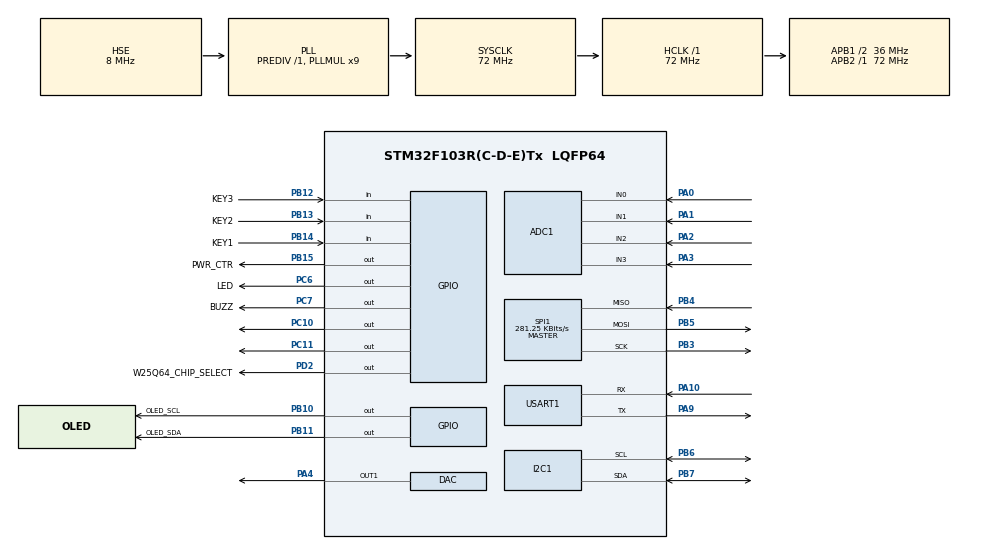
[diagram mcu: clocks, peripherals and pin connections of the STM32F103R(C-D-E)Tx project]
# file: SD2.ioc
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ADC1.Channel-10\#ChannelRegularConversion=ADC_CHANNEL_2
ADC1.Channel-11\#ChannelRegularConversion=ADC_CHANNEL_3
ADC1.Channel-6\#ChannelRegularConversion=ADC_CHANNEL_0
ADC1.Channel-9\#ChannelRegularConversion=ADC_CHANNEL_1
ADC1.ContinuousConvMode=ENABLE
ADC1.DiscontinuousConvMode=DISABLE
ADC1.ExternalTrigConv=ADC_SOFTWARE_START
ADC1.NbrOfConversion=4
ADC1.NbrOfConversionFlag=1
ADC1.Rank-10\#ChannelRegularConversion=3
ADC1.Rank-11\#ChannelRegularConversion=4
ADC1.Rank-6\#ChannelRegularConversion=1
ADC1.Rank-9\#ChannelRegularConversion=2
ADC1.SamplingTime-10\#ChannelRegularConversion=ADC_SAMPLETIME_71CYCLES_5
ADC1.SamplingTime-11\#ChannelRegularConversion=ADC_SAMPLETIME_71CYCLES_5
ADC1.SamplingTime-6\#ChannelRegularConversion=ADC_SAMPLETIME_71CYCLES_5
ADC1.SamplingTime-9\#ChannelRegularConversion=ADC_SAMPLETIME_71CYCLES_5
ADC1.master=1
Dma.ADC1.2.Direction=DMA_PERIPH_TO_MEMORY
Dma.ADC1.2.Instance=DMA1_Channel1
Dma.ADC1.2.MemDataAlignment=DMA_MDATAALIGN_HALFWORD
Dma.ADC1.2.MemInc=DMA_MINC_ENABLE
Dma.ADC1.2.Mode=DMA_CIRCULAR
Dma.ADC1.2.PeriphDataAlignment=DMA_PDATAALIGN_HALFWORD
Dma.ADC1.2.PeriphInc=DMA_PINC_DISABLE
Dma.ADC1.2.Priority=DMA_PRIORITY_HIGH
Dma.Request0=USART1_RX
Dma.Request1=USART1_TX
Dma.Request2=ADC1
Dma.USART1_RX.0.Direction=DMA_PERIPH_TO_MEMORY
Dma.USART1_RX.0.Instance=DMA1_Channel5
Dma.USART1_RX.0.MemDataAlignment=DMA_MDATAALIGN_BYTE
Dma.USART1_RX.0.MemInc=DMA_MINC_ENABLE
Dma.USART1_RX.0.Mode=DMA_NORMAL
Dma.USART1_RX.0.PeriphDataAlignment=DMA_PDATAALIGN_BYTE
Dma.USART1_RX.0.PeriphInc=DMA_PINC_DISABLE
Dma.USART1_RX.0.Priority=DMA_PRIORITY_LOW
Dma.USART1_TX.1.Direction=DMA_MEMORY_TO_PERIPH
Dma.USART1_TX.1.Instance=DMA1_Channel4
Dma.USART1_TX.1.MemDataAlignment=DMA_MDATAALIGN_BYTE
Dma.USART1_TX.1.MemInc=DMA_MINC_ENABLE
Dma.USART1_TX.1.Mode=DMA_NORMAL
Dma.USART1_TX.1.PeriphDataAlignment=DMA_PDATAALIGN_BYTE
Dma.USART1_TX.1.PeriphInc=DMA_PINC_DISABLE
Dma.USART1_TX.1.Priority=DMA_PRIORITY_LOW
Mcu.Family=STM32F1
Mcu.Name=STM32F103R(C-D-E)Tx
Mcu.Package=LQFP64
NVIC.ADC1_2_IRQn=true\:1\:0\:true\:false\:true\:true\:true\:true
NVIC.DMA1_Channel4_IRQn=true\:0\:0\:false\:false\:true\:true\:true\:true
NVIC.DMA1_Channel5_IRQn=true\:0\:0\:false\:false\:true\:true\:true\:true
NVIC.PriorityGroup=NVIC_PRIORITYGROUP_4
NVIC.TIM6_IRQn=true\:1\:0\:true\:false\:true\:true\:true\:true
NVIC.USART1_IRQn=true\:0\:0\:false\:false\:true\:false\:true\:true
PA0-WKUP.Signal=ADCx_IN0
PA1.Signal=ADCx_IN1
PA10.Mode=Asynchronous
PA10.Signal=USART1_RX
PA13.Mode=Serial_Wire
PA13.Signal=SYS_JTMS-SWDIO
PA14.Mode=Serial_Wire
PA14.Signal=SYS_JTCK-SWCLK
PA2.Signal=ADCx_IN2
PA3.Signal=ADCx_IN3
PA4.Signal=COMP_DAC1_group
PA9.Mode=Asynchronous
PA9.Signal=USART1_TX
PB10.GPIO_Label=OLED_SCL
PB10.GPIO_ModeDefaultOutputPP=GPIO_MODE_OUTPUT_OD
PB10.GPIO_PuPd=GPIO_PULLUP
PB10.GPIO_Speed=GPIO_SPEED_FREQ_HIGH
PB10.Signal=GPIO_Output
PB11.GPIO_Label=OLED_SDA
PB11.GPIO_ModeDefaultOutputPP=GPIO_MODE_OUTPUT_OD
PB11.GPIO_PuPd=GPIO_PULLUP
PB11.GPIO_Speed=GPIO_SPEED_FREQ_HIGH
PB11.PinState=GPIO_PIN_RESET
PB11.Signal=GPIO_Output
PB12.GPIO_Label=KEY3
PB12.GPIO_PuPd=GPIO_PULLUP
PB12.Signal=GPIO_Input
PB13.GPIO_Label=KEY2
PB13.GPIO_PuPd=GPIO_PULLUP
PB13.Signal=GPIO_Input
PB14.GPIO_Label=KEY1
PB14.GPIO_PuPd=GPIO_PULLUP
PB14.Signal=GPIO_Input
PB15.GPIO_Label=PWR_CTR
PB15.GPIO_PuPd=GPIO_PULLUP
PB15.GPIO_Speed=GPIO_SPEED_FREQ_LOW
PB15.PinState=GPIO_PIN_SET
PB15.Signal=GPIO_Output
PB3.Mode=Full_Duplex_Master
PB3.Signal=SPI1_SCK
PB4.Mode=Full_Duplex_Master
PB4.Signal=SPI1_MISO
PB5.Mode=Full_Duplex_Master
PB5.Signal=SPI1_MOSI
PB6.Mode=I2C
PB6.Signal=I2C1_SCL
PB7.Mode=I2C
PB7.Signal=I2C1_SDA
PC10.GPIO_ModeDefaultOutputPP=GPIO_MODE_OUTPUT_OD
PC10.GPIO_PuPd=GPIO_PULLUP
PC10.GPIO_Speed=GPIO_SPEED_FREQ_HIGH
PC10.PinState=GPIO_PIN_SET
PC10.Signal=GPIO_Output
PC11.GPIO_ModeDefaultOutputPP=GPIO_MODE_OUTPUT_OD
PC11.GPIO_PuPd=GPIO_PULLUP
PC11.GPIO_Speed=GPIO_SPEED_FREQ_HIGH
PC11.PinState=GPIO_PIN_SET
PC11.Signal=GPIO_Output
PC14-OSC32_IN.Mode=LSE-External-Oscillator
PC14-OSC32_IN.Signal=RCC_OSC32_IN
PC15-OSC32_OUT.Mode=LSE-External-Oscillator
PC15-OSC32_OUT.Signal=RCC_OSC32_OUT
PC6.GPIO_Label=LED
PC6.GPIO_PuPd=GPIO_PULLUP
PC6.Signal=GPIO_Output
PC7.GPIO_Label=BUZZ
PC7.GPIO_PuPd=GPIO_PULLDOWN
PC7.Signal=GPIO_Output
PD0-OSC_IN.Mode=HSE-External-Oscillator
PD0-OSC_IN.Signal=RCC_OSC_IN
PD1-OSC_OUT.Mode=HSE-External-Oscillator
PD1-OSC_OUT.Signal=RCC_OSC_OUT
PD2.GPIO_Label=W25Q64_CHIP_SELECT
PD2.GPIO_ModeDefaultOutputPP=GPIO_MODE_OUTPUT_PP
PD2.GPIO_PuPd=GPIO_PULLUP
PD2.GPIO_Speed=GPIO_SPEED_FREQ_HIGH
PD2.PinState=GPIO_PIN_SET
PD2.Signal=GPIO_Output
ProjectManager.HeapSize=0x200
ProjectManager.StackSize=0x400
ProjectManager.TargetToolchain=MDK-ARM V5.32
RCC.ADCPresc=RCC_ADCPCLK2_DIV6
RCC.AHBFreq_Value=72000000
RCC.APB1CLKDivider=RCC_HCLK_DIV2
RCC.APB1Freq_Value=36000000
RCC.APB1TimFreq_Value=72000000
RCC.APB2Freq_Value=72000000
RCC.APB2TimFreq_Value=72000000
RCC.HCLKFreq_Value=72000000
RCC.PLLMUL=RCC_PLL_MUL9
RCC.PLLSourceVirtual=RCC_PLLSOURCE_HSE
RCC.SYSCLKFreq_VALUE=72000000
RCC.SYSCLKSource=RCC_SYSCLKSOURCE_PLLCLK
RCC.USBFreq_Value=72000000
SH.ADCx_IN0.0=ADC1_IN0,IN0
SH.ADCx_IN1.0=ADC1_IN1,IN1
SH.ADCx_IN2.0=ADC1_IN2,IN2
SH.ADCx_IN3.0=ADC1_IN3,IN3
SH.COMP_DAC1_group.0=DAC_OUT1,DAC_OUT1
SPI1.BaudRatePrescaler=SPI_BAUDRATEPRESCALER_256
SPI1.CLKPhase=SPI_PHASE_2EDGE
SPI1.CLKPolarity=SPI_POLARITY_HIGH
SPI1.CalculateBaudRate=281.25 KBits/s
SPI1.Direction=SPI_DIRECTION_2LINES
SPI1.Mode=SPI_MODE_MASTER
SPI1.VirtualType=VM_MASTER
TIM6.Period=1000-1
TIM6.Prescaler=720-1
USART1.VirtualMode=VM_ASYNC
VP_TIM6_VS_ClockSourceINT.Mode=Enable_Timer
board=custom

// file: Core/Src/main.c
/* USER CODE BEGIN Header */
/**
  ******************************************************************************
  * @file           : main.c
  * @brief          : Main program body
  ******************************************************************************
  * @attention
  *
  * Copyright (c) 2025 STMicroelectronics.
  * All rights reserved.
  *
  * This software is licensed under terms that can be found in the LICENSE file
  * in the root directory of this software component.
  * If no LICENSE file comes with this software, it is provided AS-IS.
  *
  ******************************************************************************
  */
/* USER CODE END Header */
#include "main.h"
#include "adc.h"
#include "dac.h"
#include "dma.h"
#include "i2c.h"
#include "spi.h"
#include "tim.h"
#include "usart.h"
#include "gpio.h"

/* USER CODE BEGIN Includes */
uint16_t ADC_Value[40];
uint16_t ADC_Filter_Value[4];
uint16_t Gas_MAX[4] = {500,3000,3000,1000};
float c1,t1;
uint16_t NH3_Value;
uint8_t Sectors_Num[2];
uint16_t Sec_Num;

uint32_t Past_Data[8];
uint8_t read_buf[30] = {0};
uint8_t write_buf[30] = {0};

/* USER CODE END Includes */

void SystemClock_Config(void);

int main(void)
{

  /* USER CODE BEGIN 1 */
	_Key *Key_Main;
	Key_Main = One_Key;

  /* USER CODE END 1 */

  /* MCU Configuration--------------------------------------------------------*/

  /* Reset of all peripherals, Initializes the Flash interface and the Systick. */
  HAL_Init();

  /* Configure the system clock */
  SystemClock_Config();

  /* Initialize all configured peripherals */
  MX_GPIO_Init();
  MX_DMA_Init();
  MX_ADC1_Init();
  MX_TIM6_Init();
  MX_DAC_Init();
  MX_SPI1_Init();
  MX_USART1_UART_Init();
  MX_I2C1_Init();
  /* USER CODE BEGIN 2 */
	OLED_Init();
	AHT20_Init();

	UI_Init();						//等待10秒，传感器预热

  HAL_TIM_Base_Start_IT(&htim6);		//启动定时器10毫秒触发一次中断

	HAL_Delay(500);
//	IIC_Write_Set_Zero();
	DAC_SET_VALUE(300); 			//输出300毫伏电压

	W25QXX_Read(Sectors_Num, 0, 2);			//读取0页数据，储存页码，如果为空则重16页开始
	if(Sectors_Num[0] == 0xFF || Sectors_Num[1] == 0xFF)
		Sec_Num = 16;
	else
		Sec_Num = ((uint16_t)Sectors_Num[1] << 8) + (uint16_t)Sectors_Num[0];

  /* USER CODE END 2 */

  /* Infinite loop */
  /* USER CODE BEGIN WHILE */

//	Set_Data();
	HAL_ADCEx_Calibration_Start(&hadc1);
	HAL_ADC_Start_DMA(&hadc1,(uint32_t *)ADC_Value,sizeof(ADC_Value));

  while (1)
  {
		UI_one(Key_Main);
		UI_two(Key_Main);
		UI_Therr(Key_Main);
    /* USER CODE END WHILE */

  }
}

void SystemClock_Config(void)
{
  RCC_OscInitTypeDef RCC_OscInitStruct = {0};
  RCC_ClkInitTypeDef RCC_ClkInitStruct = {0};
  RCC_PeriphCLKInitTypeDef PeriphClkInit = {0};

  /** Initializes the RCC Oscillators according to the specified parameters
  * in the RCC_OscInitTypeDef structure.
  */
  RCC_OscInitStruct.OscillatorType = RCC_OSCILLATORTYPE_HSE;
  RCC_OscInitStruct.HSEState = RCC_HSE_ON;
  RCC_OscInitStruct.HSEPredivValue = RCC_HSE_PREDIV_DIV1;
  RCC_OscInitStruct.HSIState = RCC_HSI_ON;
  RCC_OscInitStruct.PLL.PLLState = RCC_PLL_ON;
  RCC_OscInitStruct.PLL.PLLSource = RCC_PLLSOURCE_HSE;
  RCC_OscInitStruct.PLL.PLLMUL = RCC_PLL_MUL9;
  if (HAL_RCC_OscConfig(&RCC_OscInitStruct) != HAL_OK)
  {
    Error_Handler();
  }

  /** Initializes the CPU, AHB and APB buses clocks
  */
  RCC_ClkInitStruct.ClockType = RCC_CLOCKTYPE_HCLK|RCC_CLOCKTYPE_SYSCLK
                              |RCC_CLOCKTYPE_PCLK1|RCC_CLOCKTYPE_PCLK2;
  RCC_ClkInitStruct.SYSCLKSource = RCC_SYSCLKSOURCE_PLLCLK;
  RCC_ClkInitStruct.AHBCLKDivider = RCC_SYSCLK_DIV1;
  RCC_ClkInitStruct.APB1CLKDivider = RCC_HCLK_DIV2;
  RCC_ClkInitStruct.APB2CLKDivider = RCC_HCLK_DIV1;

  if (HAL_RCC_ClockConfig(&RCC_ClkInitStruct, FLASH_LATENCY_2) != HAL_OK)
  {
    Error_Handler();
  }
  PeriphClkInit.PeriphClockSelection = RCC_PERIPHCLK_ADC;
  PeriphClkInit.AdcClockSelection = RCC_ADCPCLK2_DIV6;
  if (HAL_RCCEx_PeriphCLKConfig(&PeriphClkInit) != HAL_OK)
  {
    Error_Handler();
  }
}

void Error_Handler(void)
{
  __disable_irq();
  while (1)
  {
  }
}
